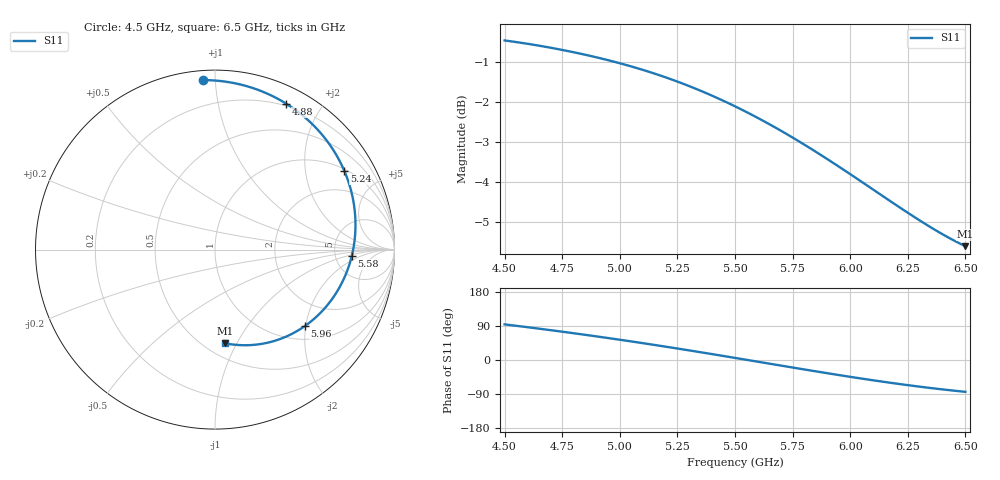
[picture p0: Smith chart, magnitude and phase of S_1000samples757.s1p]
! TOUCHSTONE file generated by CST MICROWAVE STUDIO
! Date and time: Sat Oct 29 06:57:16 2022
! Project name: L.cst
! Parameters = {Di=1.27; Epsilon_r=1.56; InnerDiameter=1.27; Length=2; Lf=10; Lg=60; OuterConductorThickness=0.2921; OuterDiameter=3.6; Wf=3; Wp=41.2; de=1.5; df=6.8; g=0.8; gx=1.02855; gy=4.69929; h=2.34; hf=1.524; px=9.35106; py=9.49675; w=9.7; wx=8.32251; wy=4.79747}
! Header version: 2018
! Port assignment regex: !\s*Touchstone port\s*([0-9]+)\s*=\s*(CST MWS port|CST DS port)\s*([0-9]+|Zmin|Zmax)\s*\(\"(.*)\"\)(\s*mode\s*([0-9]+))?.*
! Touchstone port assignment:
! Touchstone port 1 = CST MWS port 1 ("")
# GHz S DB R 50
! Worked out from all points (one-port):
!   101 points, 4.5 GHz to 6.5 GHz, reference 50 ohm
!   lowest |S11| = -5.6 dB at 6.5 GHz (marker M1), VSWR 3.21, Z = 31.1 - j44.8 ohm
!   |S11| at or under -10 dB: nowhere
!   S11 on the Smith chart (normalised r, x): 4.5 GHz: 0.05, +0.93; 4.88 GHz: 0.18, +1.59; 5.24 GHz: 1.07, +3.25; 5.58 GHz: 7.25, -1.19; 5.96 GHz: 1.31, -1.97; 6.5 GHz: 0.62, -0.90
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4.5  -0.48 94.0
4.58  -0.54 88.0
4.64  -0.60 83.4
4.76  -0.72 73.9
4.82  -0.79 68.9
4.88  -0.87 63.9
4.94  -0.95 58.7
5  -1.04 53.5
5.12  -1.24 42.6
5.18  -1.36 37.0
5.24  -1.48 31.3
5.26  -1.52 29.3
5.32  -1.66 23.5
5.38  -1.80 17.6
5.44  -1.95 11.6
5.5  -2.12 5.5
5.58  -2.35 -2.6
5.66  -2.60 -10.7
5.76  -2.93 -20.9
5.86  -3.28 -30.9
5.96  -3.65 -40.6
6  -3.80 -44.4
6.06  -4.04 -50.0
6.12  -4.27 -55.4
6.18  -4.50 -60.6
6.26  -4.80 -67.1
6.38  -5.23 -76.2
6.5  -5.60 -84.0
